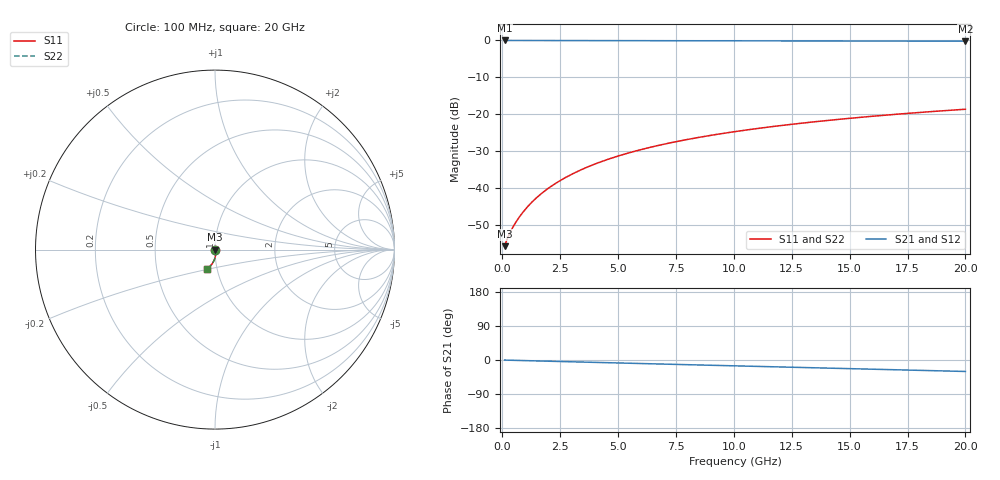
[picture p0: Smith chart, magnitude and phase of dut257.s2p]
! Touchstone file exported from HFSS 2026.1.0
!  File:  C:/ffzhzh/LocalFiles/Ansys_Project_Files/temp_train_BSMRDL_257_1782988719_6248.aedt
!  Generated:  06:39:44 PM Jul  2, 2026
!  Design:  BSMRDL
!  Project:  temp_train_BSMRDL_257_1782988719_6248
! Variables:
!  h_bsmrdl = 5.8um
!  h_ox = 20um
!  h_rdl = 5um
!  h_sub = 80um
!  h_tmrdl = 5um
!  h_tsv = 80um
!  h_via = 3um
!  l_bsmrdl = 530.76um
!  l_sub = 930.76um
!  l_tmrdl = 200um
!  m_sub = 200um
!  pitch = 27.23um
!  r_tsv = 6um
!  s_tmrdl = 10um
!  w_bsmrdl = 23.96um
!  w_sub = 500um
!  w_tmrdl = 12um
!  x_tsv_center1 = 206um
!  x_tsv_center2 = 760.72um
!  x_tsv_center3 = 972.72um
!  x_tsv_center4 = 1527.44um
!  x_tsv_center5 = 1739.44um
!  x_tsv_center6 = 2294.16um
# GHz S MA R 50.000000
! Terminal data exported
! Port[1] = BSM_RDL1_1_T1
! Port[2] = BSM_RDL1_1_T2
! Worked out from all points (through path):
!   200 points, 100 MHz to 20 GHz, reference 50 ohm
!   highest |S21| = -0.01 dB at 100 MHz (marker M1); lowest = -0.2 dB at 20 GHz (marker M2)
!   group delay of S21, straight-line fit = 4.18 ps
!   lowest |S11| = -55.6 dB at 100 MHz (marker M3), VSWR 1.00, Z = 50.2 + j0.00297 ohm
!   |S11| at or under -10 dB: start of sweep to end of sweep
!   |S22| runs from -55.6 to -18.6 dB; largest |S21 - S12| = 7.5e-15
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0.1  0.001662 1.0  0.9983 -0.2  0.9983 -0.2  0.001662 1.0
! Gamma 0 0 0 0
! Port Impedance 50 0 50 0
0.2  0.002034 -6.1  0.998 -0.4  0.998 -0.4  0.002034 -6.1
0.3  0.002413 -15.9  0.9977 -0.5  0.9977 -0.5  0.002412 -15.9
0.4  0.002785 -25.0  0.9974 -0.7  0.9974 -0.7  0.002785 -25.0
0.6  0.003555 -38.9  0.9972 -1.0  0.9972 -1.0  0.003555 -38.9
0.9  0.004811 -51.8  0.9969 -1.5  0.9969 -1.5  0.00481 -51.8
1.1  0.005706 -57.2  0.9967 -1.8  0.9967 -1.8  0.005705 -57.2
1.3  0.006637 -61.2  0.9965 -2.1  0.9965 -2.1  0.006636 -61.2
1.8  0.009094 -67.5  0.996 -2.9  0.996 -2.9  0.009092 -67.5
2.3  0.0117 -71.4  0.9955 -3.7  0.9955 -3.7  0.0117 -71.4
2.9  0.015 -74.6  0.9948 -4.6  0.9948 -4.6  0.015 -74.6
3.5  0.01844 -77.1  0.994 -5.5  0.994 -5.5  0.01843 -77.1
4.2  0.02258 -79.6  0.9931 -6.6  0.9931 -6.6  0.02257 -79.6
5  0.02742 -82.1  0.9922 -7.8  0.9922 -7.8  0.02741 -82.2
5.9  0.03295 -84.7  0.9912 -9.2  0.9912 -9.2  0.03294 -84.7
6.8  0.03852 -87.1  0.9902 -10.6  0.9902 -10.6  0.0385 -87.1
8.3  0.04782 -90.6  0.9887 -12.8  0.9887 -12.8  0.0478 -90.7
10.1  0.05895 -94.5  0.9869 -15.5  0.9869 -15.5  0.05892 -94.6
11.7  0.06876 -97.7  0.9853 -17.9  0.9853 -17.9  0.06873 -97.8
13.4  0.07908 -100.9  0.9835 -20.5  0.9835 -20.5  0.07905 -101.0
16.7  0.0987 -106.8  0.9798 -25.4  0.9798 -25.4  0.09866 -106.9
20  0.1176 -112.4  0.976 -30.3  0.976 -30.3  0.1175 -112.5
